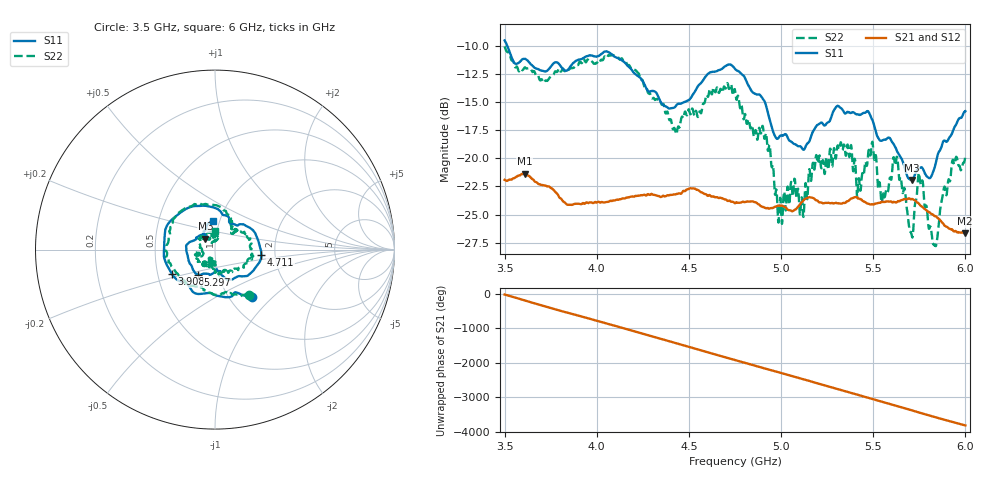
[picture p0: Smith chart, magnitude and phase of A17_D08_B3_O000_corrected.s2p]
! Created with skrf 1.9.0 (http://scikit-rf.org).
# Hz S RI R 50.0
!freq ReS11 ImS11 ReS21 ImS21 ReS12 ImS12 ReS22 ImS22
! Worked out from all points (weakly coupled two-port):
!   1601 points, 3.5 GHz to 6 GHz, reference 50 ohm
!   highest |S21| = -21.37 dB at 3.609 GHz (marker M1); lowest = -26.7 dB at 5.995 GHz (marker M2)
!   lowest |S11| = -21.9 dB at 5.708 GHz (marker M3), VSWR 1.17, Z = 44.6 + j5.4 ohm
!   |S11| at or under -10 dB: 3.515 GHz to end of sweep
!   |S22| runs from -27.8 to -10.0 dB; largest |S21 - S12| = 0.0011
!   S11 on the Smith chart (normalised r, x): 3.5 GHz: 1.27, -0.75; 3.908 GHz: 0.59, -0.17; 4.711 GHz: 1.69, -0.11; 5.297 GHz: 0.80, -0.23; 6 GHz: 0.93, +0.31
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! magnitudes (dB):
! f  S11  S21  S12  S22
! 3.5 GHz  -9.5  -21.9  -21.9  -10.0
! 3.609 GHz  -11.1  -21.4  -21.4  -11.9
! 3.908 GHz  -11.2  -24.1  -24.0  -11.4
! 3.917 GHz  -11.2  -24.1  -24.1  -11.5
! 4.334 GHz  -14.5  -23.3  -23.3  -14.8
! 4.425 GHz  -15.4  -23.2  -23.2  -17.5
! 4.711 GHz  -11.7  -23.8  -23.8  -13.4
! 4.75 GHz  -12.0  -24.0  -23.9  -14.0
! 4.909 GHz  -14.9  -24.4  -24.3  -18.2
! 4.995 GHz  -18.0  -24.2  -24.2  -23.5
! 5.167 GHz  -17.8  -23.5  -23.5  -21.2
! 5.297 GHz  -15.5  -24.0  -23.9  -20.0
! 5.422 GHz  -16.1  -23.6  -23.6  -21.8
! 5.489 GHz  -16.4  -24.1  -24.1  -19.2
! 5.584 GHz  -18.2  -23.8  -23.8  -22.4
! 5.622 GHz  -19.1  -23.9  -23.9  -20.5
! 5.708 GHz  -21.9  -23.6  -23.6  -26.7
! 5.756 GHz  -20.8  -24.2  -24.2  -22.2
! 5.836 GHz  -20.6  -25.1  -25.1  -27.7
! 5.936 GHz  -17.4  -26.5  -26.5  -20.4
! 5.995 GHz  -15.8  -26.7  -26.6  -20.2
! 6 GHz  -15.8  -26.7  -26.6  -19.7
